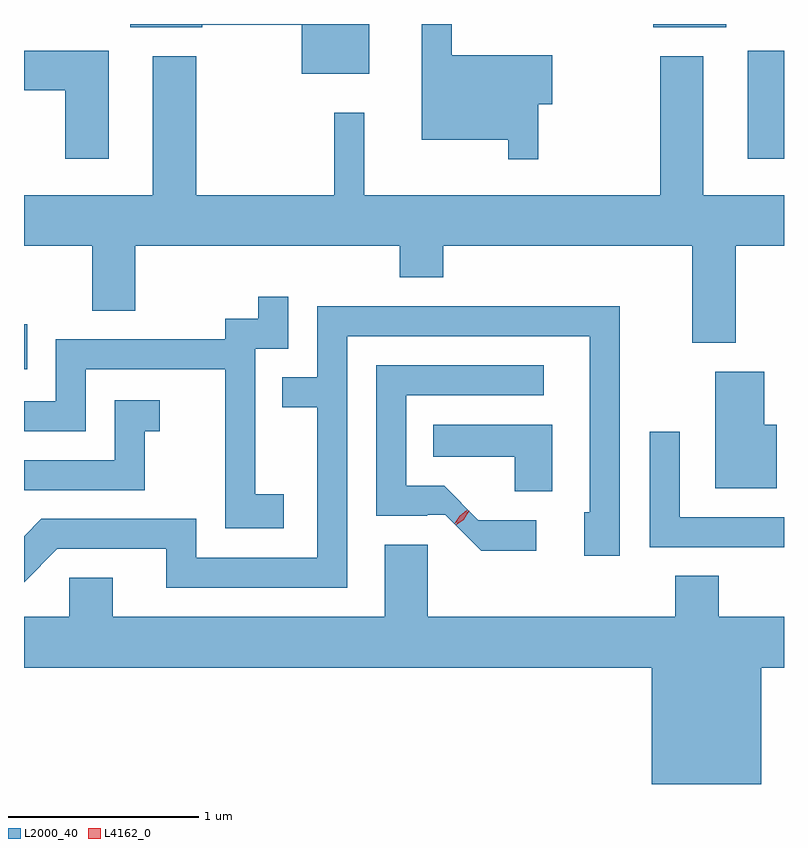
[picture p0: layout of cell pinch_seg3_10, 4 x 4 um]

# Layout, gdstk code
import gdstk
lib = gdstk.Library(unit=1e-6, precision=1e-09)
def R(c, l, rs):  # rectangles x0, y0, x1, y1
    for r in rs: c.add(gdstk.rectangle(r[:2], r[2:], *l))
def P(c, l, *ps):  # polygons
    for p in ps: c.add(gdstk.Polygon(p, *l))
L2000_40 = (2000, 40)
L4162_0 = (4162, 0)

pinch_seg3_10 = lib.new_cell('pinch_seg3_10')
R(pinch_seg3_10, L2000_40, [(849.853,1118.706,849.869,1118.943), (853.661,1119.816,853.853,1120.384), (853.166,1120.506,853.549,1120.524)])
P(pinch_seg3_10, L2000_40, [(852.559,1120.101),(852.634,1120.101),(852.634,1120.359),(852.104,1120.359),(852.104,1120.524),(851.946,1120.524),(851.946,1119.916),(852.401,1119.916),(852.401,1119.813),(852.559,1119.813)],
  [(851.669,1120.524),(850.411,1120.524),(850.411,1120.506),(850.79,1120.506),(850.79,1120.521),(851.316,1120.521),(851.316,1120.261),(851.669,1120.261)],
  [(850.299,1120.384),(849.853,1120.384),(849.853,1120.176),(850.071,1120.176),(850.071,1119.816),(850.299,1119.816)],
  [(853.599,1119.356),(853.853,1119.356),(853.853,1119.624),(853.429,1119.624),(853.429,1120.354),(853.201,1120.354),(853.201,1119.624),(851.644,1119.624),(851.644,1120.058),(851.486,1120.058),(851.486,1119.624),(850.759,1119.624),(850.759,1120.354),(850.531,1120.354),(850.531,1119.624),(849.853,1119.624),(849.853,1119.356),(850.211,1119.356),(850.211,1119.016),(850.439,1119.016),(850.439,1119.356),(851.831,1119.356),(851.831,1119.191),(852.059,1119.191),(852.059,1119.356),(853.371,1119.356),(853.371,1118.846),(853.599,1118.846)],
  [(851.219,1118.049),(851.069,1118.049),(851.069,1118.816),(851.244,1118.816),(851.244,1119.088),(851.086,1119.088),(851.086,1118.974),(850.911,1118.974),(850.911,1118.864),(850.021,1118.864),(850.021,1118.539),(849.853,1118.539),(849.853,1118.381),(850.179,1118.381),(850.179,1118.706),(850.911,1118.706),(850.911,1117.871),(851.219,1117.871)],
  [(851.554,1118.881),(852.831,1118.881),(852.831,1117.954),(852.801,1117.954),(852.801,1117.726),(852.989,1117.726),(852.989,1119.039),(851.396,1119.039),(851.396,1118.664),(851.213,1118.664),(851.213,1118.506),(851.396,1118.506),(851.396,1117.714),(850.759,1117.714),(850.759,1117.919),(849.944,1117.919),(849.853,1117.828),(849.853,1117.587),(850.027,1117.761),(850.601,1117.761),(850.601,1117.556),(851.554,1117.556)],
  [(852.548,1117.913),(852.245,1117.913),(852.064,1118.094),(851.864,1118.094),(851.864,1118.571),(852.588,1118.571),(852.588,1118.729),(851.706,1118.729),(851.706,1117.936),(851.975,1117.936),(851.975,1117.94),(852.07,1117.94),(852.259,1117.751),(852.548,1117.751)],
  [(853.814,1118.414),(853.749,1118.414),(853.749,1118.694),(853.491,1118.694),(853.491,1118.081),(853.814,1118.081)],
  [(850.489,1118.381),(850.568,1118.381),(850.568,1118.544),(850.331,1118.544),(850.331,1118.229),(849.853,1118.229),(849.853,1118.071),(850.489,1118.071)],
  [(852.634,1118.414),(852.008,1118.414),(852.008,1118.246),(852.436,1118.246),(852.436,1118.066),(852.634,1118.066)],
  [(853.853,1117.929),(853.304,1117.929),(853.304,1118.378),(853.146,1118.378),(853.146,1117.771),(853.853,1117.771)],
  [(853.734,1117.136),(853.853,1117.136),(853.853,1117.404),(853.509,1117.404),(853.509,1117.619),(853.281,1117.619),(853.281,1117.404),(851.979,1117.404),(851.979,1117.784),(851.751,1117.784),(851.751,1117.404),(850.319,1117.404),(850.319,1117.609),(850.091,1117.609),(850.091,1117.404),(849.853,1117.404),(849.853,1117.136),(853.156,1117.136),(853.156,1116.524),(853.734,1116.524)])
P(pinch_seg3_10, L4162_0, [(852.125,1117.885),(852.125,1117.886),(852.153,1117.93),(852.195,1117.962),(852.196,1117.962),(852.196,1117.961),(852.168,1117.916),(852.126,1117.885)],
  [(852.121,1117.896),(852.121,1117.896),(852.146,1117.937),(852.184,1117.965),(852.185,1117.965),(852.185,1117.964),(852.16,1117.923),(852.122,1117.896)])

lib.write_gds('pinch_seg3_10.gds')
